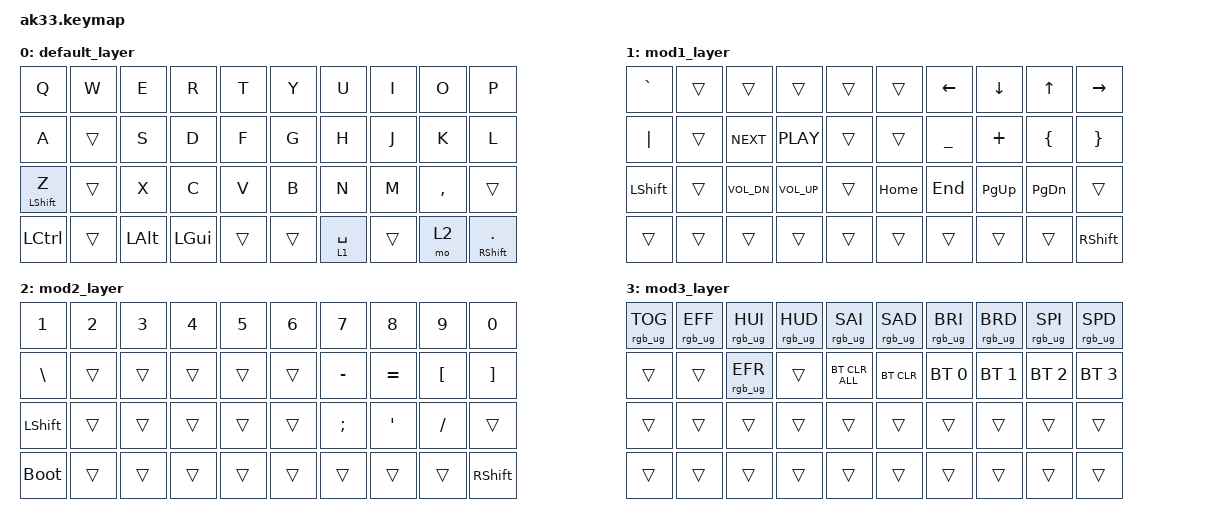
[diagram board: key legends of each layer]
#include <behaviors.dtsi>
#include <dt-bindings/zmk/keys.h>
#include <dt-bindings/zmk/bt.h>
#include <dt-bindings/zmk/rgb.h>

/ {
    behaviors {
        /* Custom Hold-Tap for your Z and Period shift keys */
        z_shft: tap_dance_z {
            compatible = "zmk,behavior-hold-tap";
            #binding-cells = <2>;
            flavor = "tap-preferred";
            tapping-term-ms = <200>;
            bindings = <&kp>, <&kp>;
        };
        
        dot_shft: tap_dance_dot {
            compatible = "zmk,behavior-hold-tap";
            #binding-cells = <2>;
            flavor = "tap-preferred";
            tapping-term-ms = <200>;
            bindings = <&kp>, <&kp>;
        };
    };

    combos {
        compatible = "zmk,combos";
        combo_esc {
            timeout-ms = <50>;
            key-positions = <0 1>;
            bindings = <&kp ESC>;
        };

        combo_delete {
            timeout-ms = <50>;
            key-positions = <7 8>;
            bindings = <&kp DELETE>;
        };

        combo_backspace {
            timeout-ms = <50>;
            key-positions = <8 9>;
            bindings = <&kp BACKSPACE>;
        };

        combo_tab {
            timeout-ms = <50>;
            key-positions = <10 12>;
            bindings = <&kp TAB>;
        };

        combo_return {
            timeout-ms = <50>;
            key-positions = <18 19>;
            bindings = <&kp RETURN>;
        };

        combo_mothree {
            timeout-ms = <50>;
            key-positions = <27 28>;
            bindings = <&mo 3>;
        };
    };

    keymap {
        compatible = "zmk,keymap";

        /* Layer 0: Base Layer (Adjusted for your 33 physical keys) */
        default_layer {
            bindings = <
                /* Row 0 (y=0): 10 keys */
                &kp Q           &kp W        &kp E        &kp R        &kp T        &kp Y        &kp U        &kp I        &kp O        &kp P
                
                /* Row 1 (y=100): 9 keys (Includes the big vertical key at the end) */
                &kp A           &trans       &kp S        &kp D        &kp F        &kp G        &kp H        &kp J        &kp K        &kp L
                
                /* Row 2 (y=200): 8 keys from KLE + 1 filler key to match your 9 physical nodes */
                &z_shft LSHFT Z &trans       &kp X        &kp C        &kp V        &kp B        &kp N        &kp M        &kp COMMA    &trans
                
                /* Row 3 (y=300): 6 keys */
                &kp LCTRL       &trans       &kp LALT     &kp LGUI     &trans       &trans       &lt 1 SPACE  &trans       &mo 2        &dot_shft RSHFT DOT
            >;
        };

        /* Layer 1: Mod 1 Layer (Activated by holding Space) */
        mod1_layer {
            bindings = <
                &kp GRAVE    &trans       &trans       &trans       &trans       &trans       &kp LEFT     &kp DOWN     &kp UP       &kp RIGHT
                &kp PIPE     &trans       &kp C_NEXT   &kp C_PLAY   &trans       &trans       &kp UNDER    &kp PLUS     &kp LBRC     &kp RBRC
                &kp LSHFT    &trans       &kp C_VOL_DN &kp C_VOL_UP &trans       &kp HOME     &kp END      &kp PG_UP    &kp PG_DN    &trans
                &trans       &trans       &trans       &trans       &trans       &trans       &trans       &trans       &trans       &kp RSHFT
            >;
        };

        /* Layer 2: Mod 2 Layer (Other & Bluetooth) */
        mod2_layer {
            bindings = <
                &kp N1       &kp N2      &kp N3         &kp N4         &kp N5         &kp N6       &kp N7       &kp N8       &kp N9       &kp N0
                &kp BSLH     &trans      &trans         &trans         &trans         &trans       &kp MINUS    &kp EQUAL    &kp LBKT     &kp RBKT
                &kp LSHFT    &trans      &trans         &trans         &trans         &trans       &kp SEMI     &kp SQT      &kp SLASH    &trans
                &bootloader  &trans      &trans         &trans         &trans         &trans       &trans       &trans       &trans       &kp RSHFT
            >;
        };

        /* Layer 3: Mod 3 Layer (RGB util) */
        mod3_layer {
            bindings = <
                &rgb_ug RGB_TOG  &rgb_ug RGB_EFF  &rgb_ug RGB_HUI  &rgb_ug RGB_HUD  &rgb_ug RGB_SAI  &rgb_ug RGB_SAD  &rgb_ug RGB_BRI  &rgb_ug RGB_BRD  &rgb_ug RGB_SPI  &rgb_ug RGB_SPD
                &trans           &trans           &rgb_ug RGB_EFR  &trans           &bt BT_CLR_ALL   &bt BT_CLR       &bt BT_SEL 0     &bt BT_SEL 1     &bt BT_SEL 2    &bt BT_SEL 3
                &trans           &trans           &trans           &trans           &trans           &trans           &trans           &trans           &trans           &trans
                &trans           &trans           &trans           &trans           &trans           &trans           &trans           &trans           &trans           &trans
            >;
        };
    };
};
